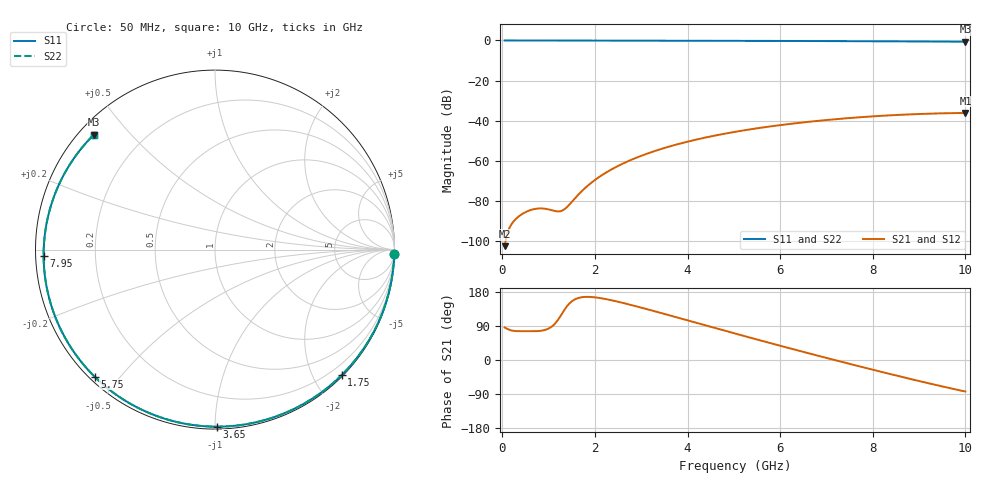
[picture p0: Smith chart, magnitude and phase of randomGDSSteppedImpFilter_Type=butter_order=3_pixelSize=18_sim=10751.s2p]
! freq	dB(S11)	phase(S11)	dB(S12)	phase(S12)
!  dB(S21)	phase(S21)	dB(S22)	phase(S22)
!S-par simulation data
#  GHz  S  DB  R 50
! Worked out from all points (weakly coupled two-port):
!   200 points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, 50 MHz to 10 GHz, reference 50 ohm
!   highest |S21| = -36.10 dB at 10 GHz (marker M1); lowest = -102.5 dB at 50 MHz (marker M2)
!   lowest |S11| = -0.6 dB at 10 GHz (marker M3), VSWR 27.77, Z = 2.09 + j19.9 ohm
!   |S11| at or under -10 dB: nowhere
!   |S22| runs from -0.6 to 0.0 dB; largest |S21 - S12| = 0
!   S11 on the Smith chart (normalised r, x): 50 MHz: 1, -90; 1.75 GHz: 0.02, -2.43; 3.65 GHz: 0.01, -1.01; 5.75 GHz: 0.01, -0.43; 7.95 GHz: 0.02, -0.02; 10 GHz: 0.04, +0.40
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0.05  -0.00 -1.3  -102.46 86.1  -102.46 86.1  -0.00 -1.3
0.4  -0.02 -10.4  -86.90 76.1  -86.90 76.1  -0.02 -10.4
0.75  -0.03 -19.5  -83.76 76.1  -83.76 76.1  -0.03 -19.5
1.5  -0.05 -38.6  -80.42 154.8  -80.42 154.8  -0.05 -38.5
1.55  -0.05 -39.8  -79.11 158.9  -79.11 158.9  -0.05 -39.8
1.75  -0.06 -44.8  -74.31 166.2  -74.31 166.2  -0.06 -44.7
2.05  -0.07 -52.1  -68.67 164.6  -68.67 164.6  -0.07 -52.1
2.45  -0.08 -61.8  -63.09 155.2  -63.09 155.2  -0.08 -61.7
2.9  -0.09 -72.3  -58.36 141.5  -58.36 141.5  -0.09 -72.3
3.4  -0.11 -83.7  -54.27 125.0  -54.27 125.0  -0.11 -83.7
3.65  -0.12 -89.3  -52.55 116.5  -52.55 116.5  -0.12 -89.2
4.35  -0.14 -104.5  -48.54 92.7  -48.54 92.7  -0.14 -104.4
5.05  -0.18 -119.2  -45.42 69.1  -45.42 69.1  -0.18 -119.1
5.75  -0.22 -133.5  -42.93 45.8  -42.93 45.8  -0.22 -133.4
6.25  -0.25 -143.6  -41.46 29.5  -41.46 29.5  -0.25 -143.5
6.7  -0.28 -152.6  -40.31 15.0  -40.31 15.0  -0.28 -152.5
7.35  -0.34 -165.7  -38.92 -5.5  -38.92 -5.5  -0.34 -165.6
7.95  -0.40 -178.0  -37.88 -24.1  -37.88 -24.1  -0.39 -177.9
8.35  -0.44 173.6  -37.32 -36.3  -37.32 -36.3  -0.44 173.7
8.8  -0.49 163.9  -36.82 -49.7  -36.82 -49.7  -0.48 164.1
9.2  -0.53 155.1  -36.48 -61.3  -36.48 -61.3  -0.53 155.2
10  -0.63 136.5  -36.10 -83.3  -36.10 -83.3  -0.63 136.7
